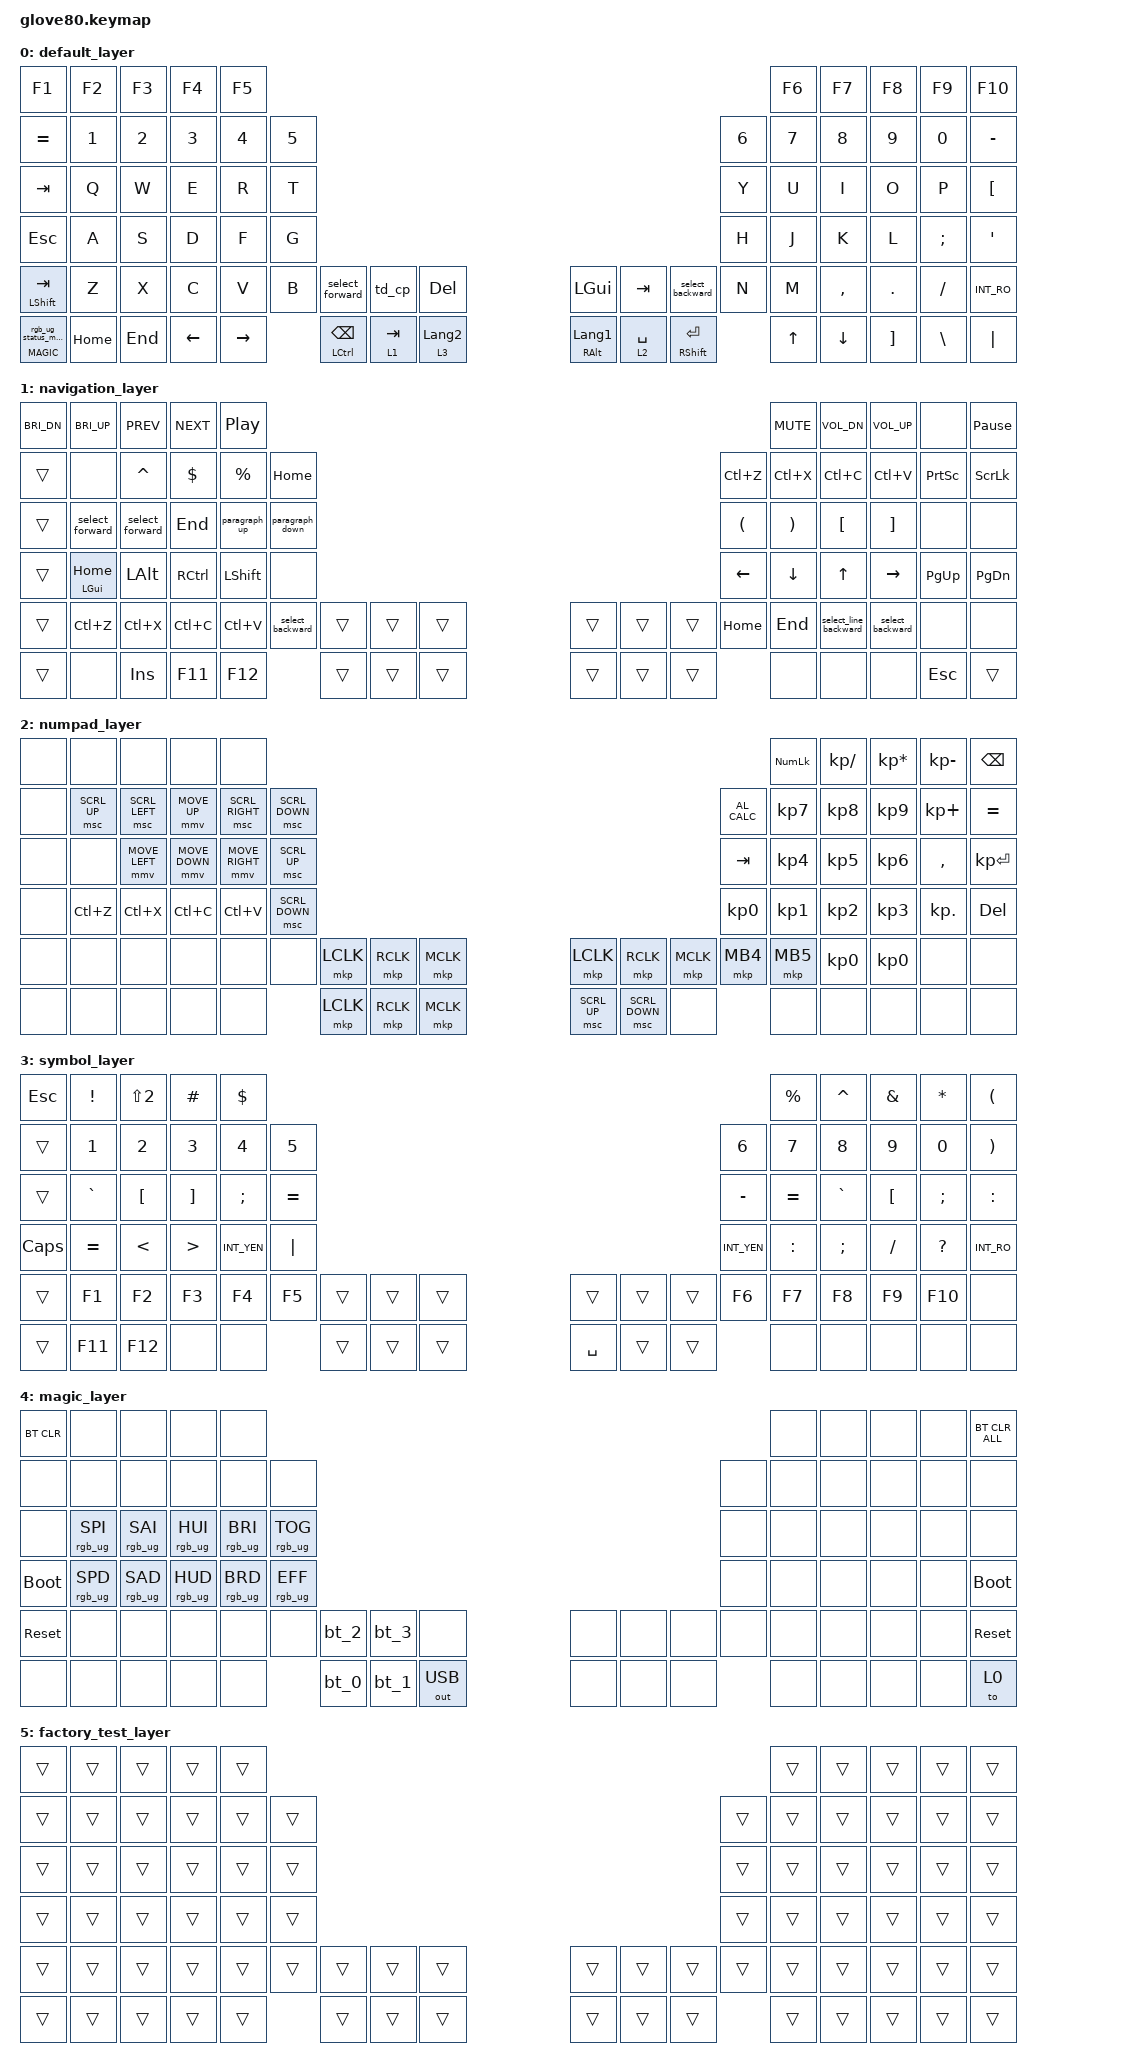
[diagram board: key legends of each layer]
/*
 * Copyright (c) 2020 The ZMK Contributors
 *
 * SPDX-License-Identifier: MIT
 *
 * ZMKキーコードとJIS配列の対応表
 * +-------------+----------------+------------------+
 * | ZMKキーコード | US配列での文字  | JIS配列での入力結果 |
 * +-------------+----------------+------------------+
 * | N1          | 1              | 1                |
 * | N2          | 2              | 2                |
 * | N3          | 3              | 3                |
 * | N4          | 4              | 4                |
 * | N5          | 5              | 5                |
 * | N6          | 6              | 6                |
 * | N7          | 7              | 7                |
 * | N8          | 8              | 8                |
 * | N9          | 9              | 9                |
 * | N0          | 0              | 0                |
 * | MINUS       | -              | -                |
 * | EQUAL       | =              | ^                |
 * | GRAVE       | `              | @                |
 * | LBKT        | [              | @                |
 * | RBKT        | ]              | [                |
 * | BSLH        | \              | ¥                |
 * | SEMI        | ;              | +                |
 * | SQT         | '              | :                |
 * | COMMA       | ,              | ,                |
 * | DOT         | .              | .                |
 * | FSLH        | /              | /                |
 * | EXCL        | !              | !                |
 * | AT          | @              | "                |
 * | HASH        | #              | #                |
 * | DLLR        | $              | $                |
 * | PRCNT       | %              | %                |
 * | CARET       | ^              | &                |
 * | AMPS        | &              | '                |
 * | ASTRK       | *              | (                |
 * | LPAR        | (              | )                |
 * | RPAR        | )              | ~                |
 * | PIPE        | |              | |                |
 * | PLUS        | +              | ;                |
 * | COLON       | :              | *                |
 * | DQT         | "              | @                |
 * | LT          | <              | <                |
 * | GT          | >              | >                |
 * | QMARK       | ?              | ?                |
 * | UNDER       | _              | _                |
 * | LBRC        | {              | {                |
 * | RBRC        | }              | }                |
 * | TILDE       | ~              | ^                |
 * | INT_YEN     | -              | ¥                |
 * | INT_RO      | -              | \                |
 * | LANG1       | -              | 英数キー           |
 * | LANG2       | -              | かなキー           |
 * +-------------+----------------+------------------+
 */
// pointing.hの前に上書きする

#define ZMK_POINTING_DEFAULT_MOVE_VAL 1500  // デフォルトは600
#define ZMK_POINTING_DEFAULT_SCRL_VAL 20    // デフォルトは10

#include <behaviors.dtsi>
#include <dt-bindings/zmk/bt.h>
#include <dt-bindings/zmk/keys.h>
#include <dt-bindings/zmk/outputs.h>
#include <dt-bindings/zmk/pointing.h>
#include <dt-bindings/zmk/rgb.h>

#define HYPER LC(LS(LG(LALT)))

/* レイヤー定義 */

#define DEFAULT 0
#define NAVIGATION 1
#define NUMPAD 2
#define SYMBOL 3
#define MAGIC 4
#define FACTORY_TEST 5

/*
 * キーボード設定
 * すべての動作、マクロ、キーマップ定義は / { ... } ノード内に含まれています
 */

&mmv {
    time-to-max-speed-ms = <300>;
    acceleration-exponent = <1>;
};

&msc { time-to-max-speed-ms = <300>; };

/ {
    behaviors {
        magic: magic_hold_tap {
            compatible = "zmk,behavior-hold-tap";
            label = "MAGIC_HOLD_TAP";
            #binding-cells = <2>;
            flavor = "tap-preferred";
            tapping-term-ms = <200>;
            bindings = <&mo>, <&rgb_ug_status_macro>;
        };

        // Home row mod-tap configurations

        hm: homerow_mods {
            compatible = "zmk,behavior-hold-tap";
            label = "HOMEROW_MODS";
            #binding-cells = <2>;
            flavor = "tap-preferred";
            tapping-term-ms = <180>;
            quick-tap-ms = <200>;
            require-prior-idle-ms = <170>;
            bindings = <&kp>, <&kp>;
        };

        // レイヤータップ（ホールド: レイヤー, タップ: キー）
        // 「balanced」フレーバー - ホールドとタップのバランスが取れた設定

        lth_balanced: layer_tap_hold_balanced {
            compatible = "zmk,behavior-hold-tap";
            label = "LAYER_TAP_BALANCED";
            #binding-cells = <2>;
            flavor = "balanced";
            tapping-term-ms = <200>;
            bindings = <&mo>, <&kp>;
        };

        // 「tap-preferred」フレーバー - タップが優先される設定

        lth_tap_pref: layer_tap_hold_tap_preferred {
            compatible = "zmk,behavior-hold-tap";
            label = "LAYER_TAP_TAP_PREF";
            #binding-cells = <2>;
            flavor = "tap-preferred";
            tapping-term-ms = <200>;
            bindings = <&mo>, <&kp>;
        };

        // 「hold-preferred」フレーバー - ホールドが優先される設定

        lth_hold_pref: layer_tap_hold_hold_preferred {
            compatible = "zmk,behavior-hold-tap";
            label = "LAYER_TAP_HOLD_PREF";
            #binding-cells = <2>;
            flavor = "hold-preferred";
            tapping-term-ms = <200>;
            bindings = <&mo>, <&kp>;
        };

        // モディファイアタップ設定（ホールド: モディファイア, タップ: 通常キー）
        // 「balanced」フレーバー - ホールドとタップのバランスが取れた設定

        mt_balanced: mod_tap_balanced {
            compatible = "zmk,behavior-hold-tap";
            label = "MOD_TAP_BALANCED";
            #binding-cells = <2>;
            flavor = "balanced";
            tapping-term-ms = <200>;
            bindings = <&kp>, <&kp>;
        };

        // 「tap-preferred」フレーバー - タップが優先される設定

        mt_tap_pref: mod_tap_tap_preferred {
            compatible = "zmk,behavior-hold-tap";
            label = "MOD_TAP_TAP_PREF";
            #binding-cells = <2>;
            flavor = "tap-preferred";
            tapping-term-ms = <200>;
            bindings = <&kp>, <&kp>;
        };

        // 「hold-preferred」フレーバー - ホールドが優先される設定

        mt_hold_pref: mod_tap_hold_preferred {
            compatible = "zmk,behavior-hold-tap";
            label = "MOD_TAP_HOLD_PREF";
            #binding-cells = <2>;
            flavor = "hold-preferred";
            tapping-term-ms = <180>;
            bindings = <&kp>, <&kp>;
        };

        // Copy/Cut/Paste tap-dance

        td_cp: tap_dance_copypaste {
            compatible = "zmk,behavior-tap-dance";
            label = "TAP_DANCE_COPYPASTE";
            #binding-cells = <0>;
            tapping-term-ms = <200>;
            bindings = <&kp LC(C)>, <&kp LC(V)>;
        };

        select_forward: select_forward {
            compatible = "zmk,behavior-mod-morph";
            #binding-cells = <0>;
            bindings = <&select_word_right>, <&extend_word_right>;

            mods = <(MOD_LSFT|MOD_RSFT)>;
        };

        select_backward: select_backward {
            compatible = "zmk,behavior-mod-morph";
            #binding-cells = <0>;
            bindings = <&select_word_left>, <&extend_word_left>;

            mods = <(MOD_LSFT|MOD_RSFT)>;
        };

        select_line_forward: select_line_forward {
            compatible = "zmk,behavior-mod-morph";
            #binding-cells = <0>;
            bindings = <&select_line_right>, <&extend_line_right>;

            mods = <(MOD_LSFT|MOD_RSFT)>;
        };

        select_line_backward: select_line_backward {
            compatible = "zmk,behavior-mod-morph";
            #binding-cells = <0>;
            bindings = <&select_line_left>, <&extend_line_left>;

            mods = <(MOD_LSFT|MOD_RSFT)>;
        };

        // Word単位の移動用mod-morph
        // 単語単位で左に移動（Shift+で選択しながら移動）

        word_left: word_left {
            compatible = "zmk,behavior-mod-morph";
            #binding-cells = <0>;
            bindings = <&kp LC(LEFT)>, <&kp LS(LC(LEFT))>;

            mods = <(MOD_LSFT|MOD_RSFT)>;
        };

        // 単語単位で右に移動（Shift+で選択しながら移動）

        word_right: word_right {
            compatible = "zmk,behavior-mod-morph";
            #binding-cells = <0>;
            bindings = <&kp LC(RIGHT)>, <&kp LS(LC(RIGHT))>;

            mods = <(MOD_LSFT|MOD_RSFT)>;
        };

        // 段落単位の移動用mod-morph
        // 段落単位で上に移動（Shift+で選択しながら移動）

        paragraph_up: paragraph_up {
            compatible = "zmk,behavior-mod-morph";
            #binding-cells = <0>;
            bindings = <&kp LC(UP)>, <&kp LS(LC(UP))>;

            mods = <(MOD_LSFT|MOD_RSFT)>;
        };

        // 段落単位で下に移動（Shift+で選択しながら移動）

        paragraph_down: paragraph_down {
            compatible = "zmk,behavior-mod-morph";
            #binding-cells = <0>;
            bindings = <&kp LC(DOWN)>, <&kp LS(LC(DOWN))>;

            mods = <(MOD_LSFT|MOD_RSFT)>;
        };

        // 削除操作のmod-morph（Shift+でワード削除）

        delete_selection: delete_selection {
            compatible = "zmk,behavior-mod-morph";
            #binding-cells = <0>;
            bindings = <&kp DELETE>, <&kp LC(DELETE)>;

            mods = <(MOD_LSFT|MOD_RSFT)>;
        };
    };

    macros {
        /* Status and System Control Macros */

        rgb_ug_status_macro: rgb_ug_status_macro_0 {
            label = "RGB_UG_STATUS";
            compatible = "zmk,behavior-macro";
            #binding-cells = <0>;
            bindings = <&rgb_ug RGB_STATUS>;
            wait-ms = <0>;
        };

        bt_0: bt_profile_macro_0 {
            label = "BT_0";
            compatible = "zmk,behavior-macro";
            #binding-cells = <0>;
            bindings = <&out OUT_BLE &bt BT_SEL 0>;
            wait-ms = <0>;
        };

        bt_1: bt_profile_macro_1 {
            label = "BT_1";
            compatible = "zmk,behavior-macro";
            #binding-cells = <0>;
            bindings = <&out OUT_BLE &bt BT_SEL 1>;
            wait-ms = <0>;
        };

        bt_2: bt_profile_macro_2 {
            label = "BT_2";
            compatible = "zmk,behavior-macro";
            #binding-cells = <0>;
            bindings = <&out OUT_BLE &bt BT_SEL 2>;
            wait-ms = <0>;
        };

        bt_3: bt_profile_macro_3 {
            label = "BT_3";
            compatible = "zmk,behavior-macro";
            #binding-cells = <0>;
            bindings = <&out OUT_BLE &bt BT_SEL 3>;
            wait-ms = <0>;
        };

        bt_4: bt_profile_macro_4 {
            compatible = "zmk,behavior-macro";
            label = "BT_4";
            #binding-cells = <0>;
            bindings = <&out OUT_BLE &bt BT_SEL 4>;
            wait-ms = <0>;
        };

        /* Text Selection and Navigation Macros */

        select_none: select_none {
            compatible = "zmk,behavior-macro";
            #binding-cells = <0>;
            wait-ms = <1>;
            tap-ms = <1>;
            bindings = <&kp DOWN &kp UP &kp RIGHT &kp LEFT>;
        };

        select_word_right: select_word_right {
            compatible = "zmk,behavior-macro";
            #binding-cells = <0>;
            wait-ms = <1>;
            tap-ms = <1>;
            bindings = <&kp LC(RIGHT) &kp LC(LEFT) &kp LC(LS(RIGHT))>;
        };

        select_word_left: select_word_left {
            compatible = "zmk,behavior-macro";
            #binding-cells = <0>;
            wait-ms = <1>;
            tap-ms = <1>;
            bindings = <&kp LC(LEFT) &kp LC(RIGHT) &kp LC(LS(LEFT))>;
        };

        extend_word_right: extend_word_right {
            compatible = "zmk,behavior-macro";
            #binding-cells = <0>;
            wait-ms = <1>;
            tap-ms = <1>;
            bindings = <&kp LC(LS(RIGHT))>;
        };

        extend_word_left: extend_word_left {
            compatible = "zmk,behavior-macro";
            #binding-cells = <0>;
            wait-ms = <1>;
            tap-ms = <1>;
            bindings = <&kp LC(LS(LEFT))>;
        };

        select_line_right: select_line_right {
            compatible = "zmk,behavior-macro";
            #binding-cells = <0>;
            wait-ms = <1>;
            tap-ms = <1>;
            bindings = <&kp HOME &kp LS(END)>;
        };

        select_line_left: select_line_left {
            compatible = "zmk,behavior-macro";
            #binding-cells = <0>;
            wait-ms = <1>;
            tap-ms = <1>;
            bindings = <&kp END &kp LS(HOME)>;
        };

        extend_line_right: extend_line_right {
            compatible = "zmk,behavior-macro";
            #binding-cells = <0>;
            wait-ms = <1>;
            tap-ms = <1>;
            bindings = <&kp LS(DOWN) &kp LS(END)>;
        };

        extend_line_left: extend_line_left {
            compatible = "zmk,behavior-macro";
            #binding-cells = <0>;
            wait-ms = <1>;
            tap-ms = <1>;
            bindings = <&kp LS(UP) &kp LS(HOME)>;
        };
    };

    keymap {
        compatible = "zmk,keymap";

        /* Base layer with default key mappings (Layer 0) */

        default_layer {
            /* ---------------------------------------------------------------------------------------------------------------------------------
             * |  F1   |  F2 |  F3 |  F4  |  F5  |                                                               |  F6   |  F7   |  F8  |   F9  |  F10 |
             * |  =    |  1  |  2  |  3   |  4   |  5   |                                                 |  6   |   7   |   8   |  9   |   0   |   -  |
             * |  ESC  |  Q  |  W  |  E   |  R   |  T   |                                                 |  Y   |   U   |   I   |  O   |   P   |   \  |
             * |  TAB  |A/GUI|S/ALT|D/CTL |F/SFT |  G   |                                                 |  H   |J/SFT |K/CTL |L/ALT |;/GUI |   '  |
             * | CTRL  |  Z  |  X  |  C   |  V   |  B   | LSHFT | COPY  | ESC  | | LGUI | UNDO  | RSHFT  |  N   |   M   |   ,   |  .   |   /   | PGUP |
             * | MAGIC | HOME| END | LEFT | RIGHT|      |BS/NAV |L1/SYM |SP/NUM| | ENT  | DEL   |L2/NAV |      |  UP   | DOWN  |  [   |   ]   | PGDN |
             */

            bindings = <
&kp F1          &kp F2    &kp F3   &kp F4    &kp F5                                                                                                                                                                                                   &kp F6  &kp F7     &kp F8             &kp F9         &kp F10
&kp EQUAL       &kp N1    &kp N2   &kp N3    &kp N4     &kp N5                                                                                                                                                                                &kp N6  &kp N7  &kp N8     &kp N9             &kp N0         &kp MINUS
&kp TAB         &kp Q     &kp W    &kp E     &kp R      &kp T                                                                                                                                                                                 &kp Y   &kp U   &kp I      &kp O              &kp P          &kp LEFT_BRACKET
&kp ESCAPE      &kp A     &kp S    &kp D     &kp F      &kp G                                                                                                                                                                                 &kp H   &kp J   &kp K      &kp L              &kp SEMICOLON  &kp SQT
&mt LSHFT TAB   &kp Z     &kp X    &kp C     &kp V      &kp B   &select_forward                &td_cp                &kp DELETE                  &kp LGUI                            &kp TAB                 &select_backward                 &kp N   &kp M   &kp COMMA  &kp DOT            &kp FSLH       &kp INT_RO
&magic MAGIC 0  &kp HOME  &kp END  &kp LEFT  &kp RIGHT          &mt_hold_pref LCTRL BACKSPACE  &lth_hold_pref 1 TAB  &lth_tap_pref 3 LANGUAGE_2  &mt_hold_pref RIGHT_ALT LANGUAGE_1  &lth_hold_pref 2 SPACE  &mt_hold_pref RIGHT_SHIFT ENTER          &kp UP  &kp DOWN   &kp RIGHT_BRACKET  &kp BACKSLASH  &kp PIPE
            >;
        };

        /* Navigation layer (Layer 1) */

        navigation_layer {
            /* ---------------------------------------------------------------------------------------------------------------------------------
             * | BRIDN | BRIUP | PREV | NEXT  | PLAY  |                                                               | MUTE  | VOLDN | VOLUP |  ---  | PAUSE |
             * | trans |  ---  |  ^   |  $    |  %    | HOME |                                                 | UNDO  | CUT   | COPY  | PASTE | PSCR  | SLCK  |
             * | trans |  ---  |WORD← |WORD→  |PARA↑  |PARA↓ |                                                 |   (   |   )   |  [    |  ]    | ---   | ---   |
             * | trans |  ---  |  h   |  j    |  k    |  l   |                                                 | LEFT  | DOWN  |  UP   | RIGHT | PGUP  | PGDN  |
             * | trans | MENU  | UNDO | REDO  | SEL_A | SEL→ | CUT   | COPY  | PASTE | trans | trans | trans  | HOME  | END   | SEL←L | SEL←W | ---   | ---   |
             * | trans |  ---  | INS  | F11   | F12   |      | trans | trans | trans | SPACE | DEL+  | trans  |       | ---   | ---   | ---   | ESC   | trans |
             */

            bindings = <
&kp C_BRI_DN  &kp C_BRI_UP       &kp C_PREV       &kp C_NEXT  &kp C_PP                                                                                     &kp C_MUTE  &kp C_VOL_DN           &kp C_VOL_UP      &none      &kp PAUSE_BREAK
&trans        &none              &kp CARET        &kp DOLLAR  &kp PERCENT     &kp HOME                                                          &kp LC(Z)  &kp LC(X)   &kp LC(C)              &kp LC(V)         &kp PSCRN  &kp SLCK
&trans        &select_forward    &select_forward  &kp END     &paragraph_up   &paragraph_down                                                   &kp LPAR   &kp RPAR    &kp LBKT               &kp RBKT          &none      &none
&trans        &hm LEFT_GUI HOME  &kp LEFT_ALT     &kp RCTRL   &kp LEFT_SHIFT  &none                                                             &kp LEFT   &kp DOWN    &kp UP                 &kp RIGHT         &kp PG_UP  &kp PG_DN
&trans        &kp LC(Z)          &kp LC(X)        &kp LC(C)   &kp LC(V)       &select_backward  &trans  &trans  &trans  &trans  &trans  &trans  &kp HOME   &kp END     &select_line_backward  &select_backward  &none      &none
&trans        &none              &kp INS          &kp F11     &kp F12                           &trans  &trans  &trans  &trans  &trans  &trans             &none       &none                  &none             &kp ESC    &trans
            >;
        };

        /* Numeric keypad layer (Layer 2) - 数字キーパッドとマウス操作 */

        numpad_layer {
            /* ---------------------------------------------------------------------------------------------------------------------------------
             * | ---  | ---  | ---  | ---   | ---   |                                                               | NLCK | /    | *    | -    | BSPC |
             * | ---  | SCR↑ | SCR← | MOUS↑ | SCR→  | SCR↓ |                                                 | CALC | 7    | 8    | 9    | +    | =    |
             * | ---  | ---  | MOUS← | MOUS↓ | MOUS→ |SCR_UP|                                                 | TAB  | 4    | 5    | 6    | ,    | ENT  |
             * | ---  | UNDO | CUT  | COPY  | PASTE |SCR_DN|                                                 | 00   | 1    | 2    | 3    | .    | DEL  |
             * | ---  | ---  | ---  | ---   | ---   | ---  |LCLK |RCLK |MCLK | LCLK | RCLK | MCLK | MB4  | MB5  | ---  | 0    | ---  | ---  |
             * | ---  | ---  | ---  | ---   | ---   |      |LCLK |RCLK |MCLK |SCR_UP|SCR_DN| MB4  |      | ---  | ---  | ---  | ---  | ---  |
             */

            bindings = <
&none  &none         &none           &none           &none                                                                                                                     &kp KP_NLCK  &kp KP_DIVIDE    &kp KP_MULTIPLY  &kp KP_MINUS  &kp BSPC
&none  &msc SCRL_UP  &msc SCRL_LEFT  &mmv MOVE_UP    &msc SCRL_RIGHT  &msc SCRL_DOWN                                                                            &kp C_AL_CALC  &kp KP_N7    &kp KP_N8        &kp KP_N9        &kp KP_PLUS   &kp EQUAL
&none  &none         &mmv MOVE_LEFT  &mmv MOVE_DOWN  &mmv MOVE_RIGHT  &msc SCRL_UP                                                                              &kp TAB        &kp KP_N4    &kp KP_N5        &kp KP_N6        &kp COMMA     &kp KP_ENTER
&none  &kp LC(Z)     &kp LC(X)       &kp LC(C)       &kp LC(V)        &msc SCRL_DOWN                                                                            &kp KP_N0      &kp KP_N1    &kp KP_N2        &kp KP_N3        &kp KP_DOT    &kp DEL
&none  &none         &none           &none           &none            &none           &mkp LCLK  &mkp RCLK  &mkp MCLK  &mkp LCLK     &mkp RCLK       &mkp MCLK  &mkp MB4       &mkp MB5     &kp KP_NUMBER_0  &kp KP_N0        &none         &none
&none  &none         &none           &none           &none                            &mkp LCLK  &mkp RCLK  &mkp MCLK  &msc SCRL_UP  &msc SCRL_DOWN  &none                     &none        &none            &none            &none         &none
            >;
        };

        /* Symbol Layer (Layer 3) - JIS配列に合わせた記号配置 */

        symbol_layer {
            /* ---------------------------------------------------------------------------------------------------------------------------------
             * | ESC  |  !   |  "   |  #   |  $   |                                                               |  %   |  &   |  '   |  (   |  )   |
             * | trans|  1   |  2   |  3   |  4   |  5   |                                                 |  6   |  7   |  8   |  9   |  0   |  ~   |
             * | trans|  @   |  [   |  ]   |  ;   |  ^   |                                                 |  -   |  =   |  @   |  [   |  +   |  *   |
             * | caps |  ^   |  <   |  >   |  ¥   |  |   |                                                 |  ¥   |  *   |  +   |  /   |  ?   |  \   |
             * | trans|  F1  |  F2  |  F3  |  F4  |  F5  | trans| trans| trans| trans| trans| trans| trans|  F6  |  F7  |  F8  |  F9  |  F10 |
             * | trans|  F11 |  F12 |BTCLR |BT_SEL|      | trans| trans| trans| trans| trans | trans|      |BTCLR |BT_SEL| ---  | ---  | ---  |
             */

            bindings = <
&kp ESC   &kp EXCL   &kp LS(N2)  &kp HASH  &kp DLLR                                                                                &kp PRCNT  &kp CARET  &kp AMPS  &kp ASTRK  &kp LPAR
&trans    &kp N1     &kp N2      &kp N3    &kp N4       &kp N5                                                        &kp N6       &kp N7     &kp N8     &kp N9    &kp N0     &kp RPAR
&trans    &kp GRAVE  &kp LBKT    &kp RBKT  &kp SEMI     &kp EQUAL                                                     &kp MINUS    &kp EQUAL  &kp GRAVE  &kp LBKT  &kp SEMI   &kp COLON
&kp CAPS  &kp EQUAL  &kp LT      &kp GT    &kp INT_YEN  &kp PIPE                                                      &kp INT_YEN  &kp COLON  &kp SEMI   &kp FSLH  &kp QMARK  &kp INT_RO
&trans    &kp F1     &kp F2      &kp F3    &kp F4       &kp F5     &trans  &trans  &trans  &trans     &trans  &trans  &kp F6       &kp F7     &kp F8     &kp F9    &kp F10    &none
&trans    &kp F11    &kp F12     &none     &none                   &trans  &trans  &trans  &kp SPACE  &trans  &trans               &none      &none      &none     &none      &none
            >;
        };

        /* System control and RGB configuration layer (Layer 4) */

        magic_layer {
            /* ---------------------------------------------------------------------------------------------------------------------------------
             * | BTCLR | ---  | ---  | ---   | ---   |                                                               | ---  | ---  | ---  | ---  | BTCLA |
             * | ---   | ---  | ---  | ---   | ---   | ---  |                                                 | ---  | ---  | ---  | ---  | ---  | ---   |
             * | ---   | SPI  | SAI  | HUI   | BRI   | TOG  |                                                 | ---  | ---  | ---  | ---  | ---  | ---   |
             * | BOOT  | SPD  | SAD  | HUD   | BRD   | EFF  |                                                 | ---  | ---  | ---  | ---  | ---  | BOOT  |
             * | RESET | ---  | ---  | ---   | ---   | ---  | BT2  | BT3  | ---  | ---  | ---  | ---  | ---  | ---  | ---  | ---  | ---  | RESET |
             * | ---   | ---  | ---  | ---   | ---   |      | BT0  | BT1  | USB  | ---  | ---  | ---  |      | ---  | ---  | ---  | ---  | TO0   |
             */

            bindings = <
&bt BT_CLR   &none            &none            &none            &none                                                                                     &none  &none  &none  &none  &bt BT_CLR_ALL
&none        &none            &none            &none            &none            &none                                                             &none  &none  &none  &none  &none  &none
&none        &rgb_ug RGB_SPI  &rgb_ug RGB_SAI  &rgb_ug RGB_HUI  &rgb_ug RGB_BRI  &rgb_ug RGB_TOG                                                   &none  &none  &none  &none  &none  &none
&bootloader  &rgb_ug RGB_SPD  &rgb_ug RGB_SAD  &rgb_ug RGB_HUD  &rgb_ug RGB_BRD  &rgb_ug RGB_EFF                                                   &none  &none  &none  &none  &none  &bootloader
&sys_reset   &none            &none            &none            &none            &none            &bt_2  &bt_3  &none         &none  &none  &none  &none  &none  &none  &none  &none  &sys_reset
&none        &none            &none            &none            &none                             &bt_0  &bt_1  &out OUT_USB  &none  &none  &none         &none  &none  &none  &none  &to 0
            >;
        };

        /* Factory test layer - transparent layer for testing (Layer 5) */

        factory_test_layer {
            /* ---------------------------------------------------------------------------------------------------------------------------------
             * | trans | trans | trans | trans | trans |                                                               | trans | trans | trans | trans | trans |
             * | trans | trans | trans | trans | trans | trans |                                                 | trans | trans | trans | trans | trans | trans |
             * | trans | trans | trans | trans | trans | trans |                                                 | trans | trans | trans | trans | trans | trans |
             * | trans | trans | trans | trans | trans | trans |                                                 | trans | trans | trans | trans | trans | trans |
             * | trans | trans | trans | trans | trans | trans | trans | trans | trans | trans | trans | trans | trans | trans | trans | trans | trans | trans |
             * | trans | trans | trans | trans | trans |       | trans | trans | trans | trans | trans | trans |       | trans | trans | trans | trans | trans |
             */

            bindings = <
&trans  &trans  &trans  &trans  &trans                                                                  &trans  &trans  &trans  &trans  &trans
&trans  &trans  &trans  &trans  &trans  &trans                                                  &trans  &trans  &trans  &trans  &trans  &trans
&trans  &trans  &trans  &trans  &trans  &trans                                                  &trans  &trans  &trans  &trans  &trans  &trans
&trans  &trans  &trans  &trans  &trans  &trans                                                  &trans  &trans  &trans  &trans  &trans  &trans
&trans  &trans  &trans  &trans  &trans  &trans  &trans  &trans  &trans  &trans  &trans  &trans  &trans  &trans  &trans  &trans  &trans  &trans
&trans  &trans  &trans  &trans  &trans          &trans  &trans  &trans  &trans  &trans  &trans          &trans  &trans  &trans  &trans  &trans
            >;
        };
    };
};
